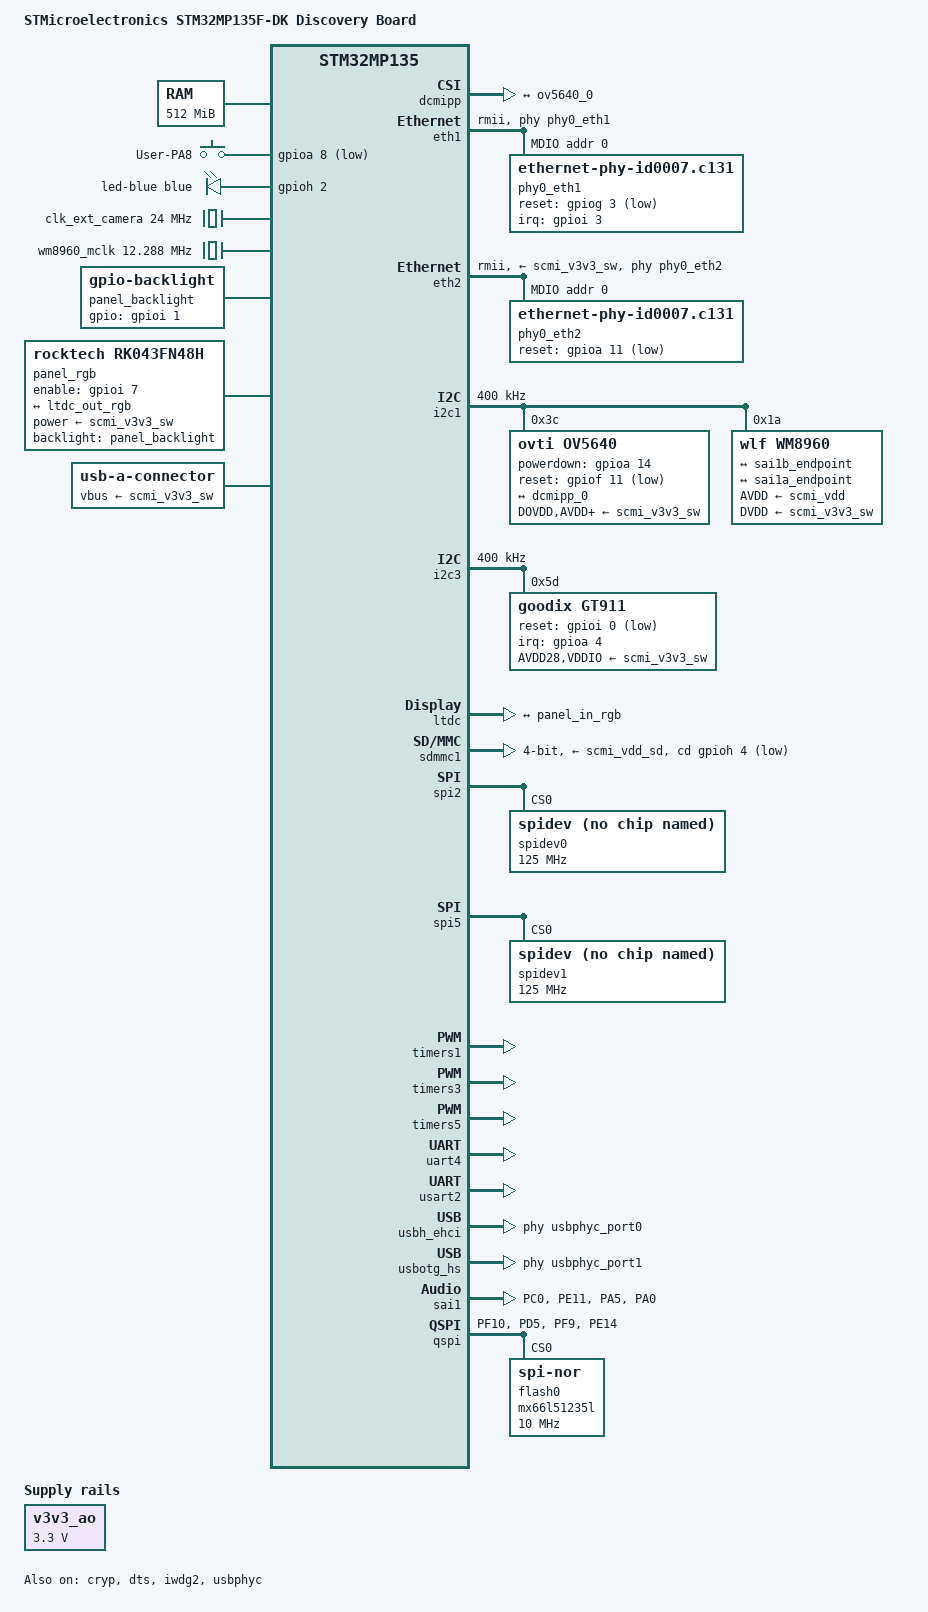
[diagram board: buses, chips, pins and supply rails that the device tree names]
// SPDX-License-Identifier: (GPL-2.0+ OR BSD-3-Clause)
/*
 * Copyright (C) STMicroelectronics 2021 - All Rights Reserved
 * Author: Alexandre Torgue <alexandre.torgue@foss.st.com> for STMicroelectronics.
 */

/dts-v1/;

#include <dt-bindings/clock/stm32mp13-clks.h>
#include <dt-bindings/gpio/gpio.h>
#include <dt-bindings/input/input.h>
#include <dt-bindings/leds/common.h>
#include <dt-bindings/rtc/rtc-stm32.h>
#include "stm32mp135.dtsi"
#include "stm32mp13xf.dtsi"
#include "stm32mp13-pinctrl.dtsi"

/ {
	model = "STMicroelectronics STM32MP135F-DK Discovery Board";
	compatible = "st,stm32mp135f-dk", "st,stm32mp135";

	aliases {
		ethernet0 = &eth1;
		ethernet1 = &eth2;
		serial0 = &uart4;
		serial1 = &usart2;
	};

	chosen {
		#address-cells = <1>;
		#size-cells = <1>;
		ranges;
		stdout-path = "serial0:115200n8";

		framebuffer {
			compatible = "simple-framebuffer";
			clocks = <&rcc LTDC_PX>;
			status = "disabled";
		};
	};

	memory@c0000000 {
		device_type = "memory";
		reg = <0xc0000000 0x20000000>;
	};

	gpio-keys {
		compatible = "gpio-keys";

		user-pa13 {
			label = "User-PA8";
			linux,code = <BTN_1>;
			gpios = <&gpioa 8 (GPIO_ACTIVE_LOW | GPIO_PULL_UP)>;
			wakeup-source;
		};
	};

	leds {
		compatible = "gpio-leds";

		led-blue {
			function = LED_FUNCTION_HEARTBEAT;
			color = <LED_COLOR_ID_BLUE>;
			gpios = <&gpioh 2 GPIO_ACTIVE_HIGH>;
			linux,default-trigger = "heartbeat";
			default-state = "off";
		};
	};

	clocks {
		clk_ext_camera: clk-ext-camera {
			#clock-cells = <0>;
			compatible = "fixed-clock";
			clock-frequency = <24000000>;
		};

		clk_mco1: clk-mco1 {
			#clock-cells = <0>;
			compatible = "fixed-clock";
			clock-frequency = <24000000>;
		};

		wm8960_mclk: wm8960_mclk {
		compatible = "fixed-clock";
		#clock-cells = <0>;
		clock-frequency = <12288000>;
		};
	};

	panel_backlight: panel-backlight {
		compatible = "gpio-backlight";
		gpios = <&gpioi 1 GPIO_ACTIVE_HIGH>;
		default-on;
		default-brightness-level = <0>;
		status = "okay";
	};

	panel_rgb: panel-rgb {
		compatible = "rocktech,rk043fn48h", "panel-dpi";
		enable-gpios = <&gpioi 7 GPIO_ACTIVE_HIGH>;
		backlight = <&panel_backlight>;
		power-supply = <&scmi_v3v3_sw>;
		status = "okay";

		width-mm = <105>;
		height-mm = <67>;

		port {
			panel_in_rgb: endpoint {
				remote-endpoint = <&ltdc_out_rgb>;
			};
		};

		panel-timing {
			clock-frequency = <27000000>;
			hactive = <800>;
			vactive = <480>;
			hsync-len = <1>;
			hfront-porch = <40>;
			hback-porch = <46>;
			vsync-len = <3>;
			vfront-porch = <13>;
			vback-porch = <23>;
		};
	};

	usb_phy_tuning: usb-phy-tuning {
		st,current-boost = <1>;
		st,hs-slew-ctrl;
		st,hs-dc-level = <2>;
		st,hs-rftime-reduction;
		st,hs-current-trim = <11>;
		st,hs-impedance-trim = <2>;
		st,squelch-level = <1>;
		st,hs-rx-gain-eq;
		st,no-hs-ftime-ctrl;
		st,no-lsfs-sc;
	};

	v3v3_ao: v3v3_ao {
		compatible = "regulator-fixed";
		regulator-name = "v3v3_ao";
		regulator-min-microvolt = <3300000>;
		regulator-max-microvolt = <3300000>;
		regulator-always-on;
	};

	sound {
		compatible = "audio-graph-card";
		label = "seeed-2mic-voicecard";
		widgets =
			"Microphone", "Mic Jack",
			"Line", "Line In",
			"Line", "Line Out",
			"Speaker", "Speaker",
			"Headphone", "Headphone Jack";

		routing =
			"Headphone Jack", "HP_L",
			"Headphone Jack", "HP_R",
			"Speaker", "SPK_LP",
			"Speaker", "SPK_LN",
			"LINPUT1", "Mic Jack",
			"LINPUT3", "Mic Jack",
			"RINPUT1", "Mic Jack",
			"RINPUT2", "Mic Jack";

		dais = <&sai1a_port &sai1b_port>;
		status = "okay";
	};
};

&cryp {
	status = "okay";
};

&dma1 {
	sram = <&dma_pool>;
};

&dma2 {
	sram = <&dma_pool>;
};

&dcmipp {
	status = "okay";
	pinctrl-names = "default", "sleep";
	pinctrl-0 = <&dcmipp_pins_a>;
	pinctrl-1 = <&dcmipp_sleep_pins_a>;
	port {
		dcmipp_0: endpoint {
			remote-endpoint = <&ov5640_0>;
			bus-type = <5>;
			bus-width = <8>;
			hsync-active = <0>;
			vsync-active = <0>;
			pclk-sample = <1>;
			pclk-max-frequency = <77000000>;
		};
	};
};

&dts {
	status = "okay";
};

&eth1 {
	status = "okay";
	pinctrl-0 = <&eth1_rmii_pins_a>;
	pinctrl-1 = <&eth1_sleep_rmii_pins_a>;
	pinctrl-names = "default", "sleep";
	phy-mode = "rmii";
	max-speed = <100>;
	phy-handle = <&phy0_eth1>;
	nvmem-cells = <&ethernet_mac1_address>;
	nvmem-cell-names = "mac-address";

	mdio1 {
		#address-cells = <1>;
		#size-cells = <0>;
		compatible = "snps,dwmac-mdio";

		phy0_eth1: ethernet-phy@0 {
			compatible = "ethernet-phy-id0007.c131";
			reset-gpios =  <&gpiog 3 GPIO_ACTIVE_LOW>;
			reg = <0>;
			interrupt-parent = <&gpioi>;
			interrupts = <3 IRQ_TYPE_EDGE_RISING>;
		};
	};
};

&eth2 {
	status = "okay";
	pinctrl-0 = <&eth2_rmii_pins_a>;
	pinctrl-1 = <&eth2_sleep_rmii_pins_a>;
	pinctrl-names = "default", "sleep";
	phy-mode = "rmii";
	max-speed = <100>;
	phy-handle = <&phy0_eth2>;
	st,ext-phyclk;
	nvmem-cells = <&ethernet_mac2_address>;
	nvmem-cell-names = "mac-address";
	phy-supply = <&scmi_v3v3_sw>;

	mdio1 {
		#address-cells = <1>;
		#size-cells = <0>;
		compatible = "snps,dwmac-mdio";
		phy0_eth2: ethernet-phy@0 {
			compatible = "ethernet-phy-id0007.c131";
			reset-gpios = <&gpioa 11 GPIO_ACTIVE_LOW>;
			reg = <0>;
		};
	};
};

&i2c1 {
	pinctrl-names = "default", "sleep";
	pinctrl-0 = <&i2c1_pins_a>;
	pinctrl-1 = <&i2c1_sleep_pins_a>;
	i2c-scl-rising-time-ns = <300>;
	i2c-scl-falling-time-ns = <300>;
	clock-frequency = <400000>;
	status = "okay";
	/* spare dmas for other usage */
	/delete-property/dmas;
	/delete-property/dma-names;

	ov5640: camera@3c {
		compatible = "ovti,ov5640";
		reg = <0x3c>;
		clocks = <&clk_ext_camera>;
		clock-names = "xclk";
		DOVDD-supply = <&scmi_v3v3_sw>;
		AVDD-supply = <&scmi_v3v3_sw>;
		DVDD-supply = <&scmi_v3v3_sw>;
		status = "okay";
		powerdown-gpios = <&gpioa 14 (GPIO_ACTIVE_HIGH | GPIO_PUSH_PULL)>;
		reset-gpios = <&gpiof 11 (GPIO_ACTIVE_LOW | GPIO_PUSH_PULL)>;
		rotation = <180>;

		port {
			ov5640_0: endpoint {
				remote-endpoint = <&dcmipp_0>;
				bus-width = <8>;
				data-shift = <2>;
				hsync-active = <0>;
				vsync-active = <0>;
				pclk-sample = <1>;
				pclk-max-frequency = <77000000>;
			};
		};
	};

	wm8960: wm8960@1a {
		compatible = "wlf,wm8960";
		reg = <0x1a>;
		#sound-dai-cells = <0>;
		AVDD-supply = <&scmi_vdd>;
		DVDD-supply = <&scmi_v3v3_sw>;
		clocks = <&wm8960_mclk>;
		clock-names = "mclk";
		wlf,shared-lrclk;
		status = "okay";

		wm8960_port: port {
			#address-cells = <1>;
			#size-cells = <0>;

			wm8960_tx_endpoint: endpoint@0 {
				reg = <0>;
				remote-endpoint = <&sai1b_endpoint>;
				frame-master;
				bitclock-master;
			};

			wm8960_rx_endpoint: endpoint@1 {
				reg = <1>;
				remote-endpoint = <&sai1a_endpoint>;
				frame-master;
				bitclock-master;
			};
		};
	};
};

&i2c3 {
	pinctrl-names = "default", "sleep";
	pinctrl-0 = <&i2c3_pins_a>;
	pinctrl-1 = <&i2c3_sleep_pins_a>;
	i2c-scl-rising-time-ns = <300>;
	i2c-scl-falling-time-ns = <300>;
	clock-frequency = <400000>;
	status = "okay";
	/* spare dmas for other usage */
	/delete-property/dmas;
	/delete-property/dma-names;

	goodix: goodix_ts@5d {
		compatible = "goodix,gt911";
		reg = <0x5d>;
		pinctrl-names = "default";
		pinctrl-0 = <&goodix_pins_a>;
		interrupt-parent = <&gpioa>;
		interrupts = <4 IRQ_TYPE_EDGE_FALLING>;
	        reset-gpios = <&gpioi 0 GPIO_ACTIVE_LOW>;
	        AVDD28-supply = <&scmi_v3v3_sw>;
	        VDDIO-supply = <&scmi_v3v3_sw>;
		touchscreen-size-x = <800>;
		touchscreen-size-y = <480>;
		status = "okay" ;
	};
};

&iwdg2 {
	timeout-sec = <32>;
	status = "okay";
};

&ltdc {
	pinctrl-names = "default", "sleep";
	pinctrl-0 = <&ltdc_pins_a>;
	pinctrl-1 = <&ltdc_sleep_pins_a>;
	status = "okay";

	port {
		ltdc_out_rgb: endpoint {
			remote-endpoint = <&panel_in_rgb>;
		};
	};
};

&scmi0_regu {
	scmi_vddcpu: voltd-vddcpu {
		voltd-name = "vddcpu";
		regulator-name = "vddcpu";
	};
	scmi_vdd: voltd-vdd {
		voltd-name = "vdd";
		regulator-name = "vdd";
	};
	scmi_vddcore: voltd-vddcore {
		voltd-name = "vddcore";
		regulator-name = "vddcore";
	};
	scmi_vdd_adc: voltd-vdd_adc {
		voltd-name = "vdd_adc";
		regulator-name = "vdd_adc";
	};
	scmi_vdd_usb: voltd-vdd_usb {
		voltd-name = "vdd_usb";
		regulator-name = "vdd_usb";
	};
	scmi_vdd_sd: voltd-vdd_sd {
		voltd-name = "vdd_sd";
		regulator-name = "vdd_sd";
	};
	scmi_v1v8_periph: voltd-v1v8_periph {
		voltd-name = "v1v8_periph";
		regulator-name = "v1v8_periph";
	};
	scmi_v3v3_sw: voltd-v3v3_sw {
		voltd-name = "v3v3_sw";
		regulator-name = "v3v3_sw";
	};
};

&sdmmc1 {
	pinctrl-names = "default", "opendrain", "sleep";
	pinctrl-0 = <&sdmmc1_b4_pins_a &sdmmc1_clk_pins_a>;
	pinctrl-1 = <&sdmmc1_b4_od_pins_a &sdmmc1_clk_pins_a>;
	pinctrl-2 = <&sdmmc1_b4_sleep_pins_a>;
	cd-gpios = <&gpioh 4 (GPIO_ACTIVE_LOW | GPIO_PULL_UP)>;
	disable-wp;
	st,neg-edge;
	bus-width = <4>;
	vmmc-supply = <&scmi_vdd_sd>;
	status = "okay";
};


&spi2 {
	pinctrl-names = "default", "sleep";
	pinctrl-0 = <&spi2_pins_a>;
	pinctrl-1 = <&spi2_sleep_pins_a>;
	status = "okay";

	spidev0: spidev@0{
		compatible = "spidev";
		reg = <0>;	/* CE */
		#address-cells = <1>;
		#size-cells = <0>;
		spi-max-frequency = <125000000>;
	};
};

&spi5 {
	pinctrl-names = "default", "sleep";
	pinctrl-0 = <&spi5_pins_a>;
	pinctrl-1 = <&spi5_sleep_pins_a>;
	status = "okay";

	spidev1: spidev@0{
		compatible = "spidev";
		reg = <0>;	/* CE */
		#address-cells = <1>;
		#size-cells = <0>;
		spi-max-frequency = <125000000>;
	};
};

&sram {
	dma_pool: dma-sram@0 {
		reg = <0x0 0x4000>;
		pool;
	};
};

&timers1 {
	/delete-property/dmas;
	/delete-property/dma-names;
	status = "okay";
	pwm {
		pinctrl-0 = <&pwm1_pins_a>;
		pinctrl-1 = <&pwm1_sleep_pins_a>;
		pinctrl-names = "default", "sleep";
		status = "okay";
	};
	timer@2 {
		status = "okay";
	};
};

&timers3 {
	/delete-property/dmas;
	/delete-property/dma-names;
	status = "okay";
	pwm {
		pinctrl-0 = <&pwm3_pins_a>;
		pinctrl-1 = <&pwm3_sleep_pins_a>;
		pinctrl-names = "default", "sleep";
		status = "okay";
	};
	timer@2 {
		status = "okay";
	};
	counter {
		status = "okay";
	};
};

&timers5 {
	/delete-property/dmas;
	/delete-property/dma-names;
	status = "okay";
	pwm {
		pinctrl-0 = <&pwm5_pins_a>;
		pinctrl-1 = <&pwm5_sleep_pins_a>;
		pinctrl-names = "default", "sleep";
		status = "okay";
	};
	timer@2 {
		status = "okay";
	};
};

&uart4 {
	pinctrl-names = "default", "sleep", "idle";
	pinctrl-0 = <&uart4_pins_a>;
	pinctrl-1 = <&uart4_sleep_pins_a>;
	pinctrl-2 = <&uart4_idle_pins_a>;
	/delete-property/dmas;
	/delete-property/dma-names;
	status = "okay";
};

&usart2 {
	pinctrl-names = "default", "sleep", "idle";
	pinctrl-0 = <&usart2_pins_a>;
	pinctrl-1 = <&usart2_sleep_pins_a>;
	pinctrl-2 = <&usart2_idle_pins_a>;
	uart-has-rtscts;
	status = "okay";
};

&usbh_ehci {
	phys = <&usbphyc_port0>;
	status = "okay";
};

&usbotg_hs {
	phys = <&usbphyc_port1 0>;
	phy-names = "usb2-phy";
	usb-role-switch;
	status = "okay";
	port {
		usbotg_hs_ep: endpoint {
//			remote-endpoint = <&con_usb_c_g0_ep>;
		};
	};
};

&usbphyc {
	status = "okay";
};

&usbphyc_port0 {
	phy-supply = <&scmi_vdd_usb>;
	st,phy-tuning = <&usb_phy_tuning>;

	/*
	 * Hack to keep hub active if wakeup source is enabled
	 * otherwise the hub will wakeup the port0 as soon as the v3v3_sw is disabled
	 */
	connector {
		compatible = "usb-a-connector";
		vbus-supply = <&scmi_v3v3_sw>;
	};
};

&usbphyc_port1 {
	phy-supply = <&scmi_vdd_usb>;
	st,phy-tuning = <&usb_phy_tuning>;
};


&sai1 {
	#sound-dai-cells = <0>;
	pinctrl-names = "default", "sleep";
	pinctrl-0 = <&sai1_pins_a>, <&sai1_pins_b>;
	pinctrl-1 = <&sai1_sleep_pins_a>, <&sai1_sleep_pins_b>;
	clocks = <&rcc SAI1>, <&scmi0_clk CK_SCMI0_PLL3_Q>, <&scmi0_clk CK_SCMI0_PLL3_R>;
	clock-names = "pclk", "x8k", "x11k";
	status = "okay";

	sai1a: audio-controller@4400a004 {
		dma-names = "rx";
		status = "okay";

		sai1a_port: port {
			sai1a_endpoint: endpoint {
				remote-endpoint = <&wm8960_rx_endpoint>;
				format = "i2s";
				dai-tdm-slot-num = <2>;
			};
		};
	};

	sai1b: audio-controller@4400a024 {
		st,sync = <&sai1a 2>;
		dma-names = "tx";
		status = "okay";

		sai1b_port: port {
			sai1b_endpoint: endpoint {
				remote-endpoint = <&wm8960_tx_endpoint>;
				format = "i2s";
				dai-tdm-slot-num = <2>;
			};
		};
	};
};

&qspi {
	status = "okay";
	#address-cells = <1>;
	#size-cells = <0>;

	pinctrl-names = "default", "sleep";
	pinctrl-0 = <&qspi_clk_pins_a &qspi_pins_a>;
	pinctrl-1 = <&qspi_clk_sleep_pins_a &qspi_sleep_pins_a>;

	flash0: mx66l51235l@0 {
		compatible = "jedec,spi-nor";
		reg = <0>;
		spi-rx-bus-width = <1>;
		spi-tx-bus-width = <1>;
		spi-max-frequency = <10000000>;
		#address-cells = <1>;
		#size-cells = <1>;
	};
};

&pinctrl {
	sai1_pins_a: sai1a-1 {
		pins {
			pinmux = <STM32_PINMUX('C',  0, AF2)>,	/* SAI1_SCKA */
					 <STM32_PINMUX('E', 11, AF6)>,	/* SAI1_FSA */
					 <STM32_PINMUX('A',  5, AF6)>;	/* SAI1_SDA */
			slew-rate = <0>;
			drive-push-pull;
			bias-disable;
		};
	};

	sai1_sleep_pins_a: sai1a-sleep-1 {
		pins {
			pinmux = <STM32_PINMUX('C', 0, ANALOG)>,	/* SAI1_SCK */
					 <STM32_PINMUX('E', 11, ANALOG)>,	/* SAI1_FS */
					 <STM32_PINMUX('A', 5, ANALOG)>;	/* SAI1_SDA */
		};
	};

	sai1_pins_b: sai1b-1 {
		pins {
			pinmux = <STM32_PINMUX('A', 0, AF6)>;		/* SAI1_SDB */
			slew-rate = <0>;
			drive-push-pull;
			bias-disable;
		};
	};

	sai1_sleep_pins_b: sai1b-sleep-1 {
		pins {
			pinmux = <STM32_PINMUX('A', 0, ANALOG)>;	/* SAI1_SDB */
		};
	};

	qspi_clk_pins_a: qspi-clk-0 {
		pins {
			pinmux = <STM32_PINMUX('F', 10, AF9)>; /* QSPI_CLK */
			bias-disable;
			drive-push-pull;
			slew-rate = <3>;
		};
	};

	qspi_clk_sleep_pins_a: qspi-clk-sleep-0 {
		pins {
			pinmux = <STM32_PINMUX('F', 10, ANALOG)>; /* QSPI_CLK */
		};
	};

	qspi_pins_a: qspi-0 {
		pins1 {
			pinmux = <STM32_PINMUX('D', 5, AF9)>, /* QSPI_BK1_IO0 */
				 <STM32_PINMUX('F', 9, AF10)>; /* QSPI_BK1_IO1 */
			bias-disable;
			drive-push-pull;
			slew-rate = <1>;
		};
		pins2 {
			pinmux = <STM32_PINMUX('E', 14, AF9)>; /* QSPI_BK1_NCS */
			bias-pull-up;
			drive-push-pull;
			slew-rate = <1>;
		};
	};

	qspi_sleep_pins_a: qspi-sleep-0 {
		pins {
			pinmux = <STM32_PINMUX('D', 5, ANALOG)>, /* QSPI_BK1_IO0 */
				 <STM32_PINMUX('F', 9, ANALOG)>, /* QSPI_BK1_IO1 */
				 <STM32_PINMUX('E', 14, ANALOG)>; /* QSPI_BK1_NCS */
		};
	};
};
